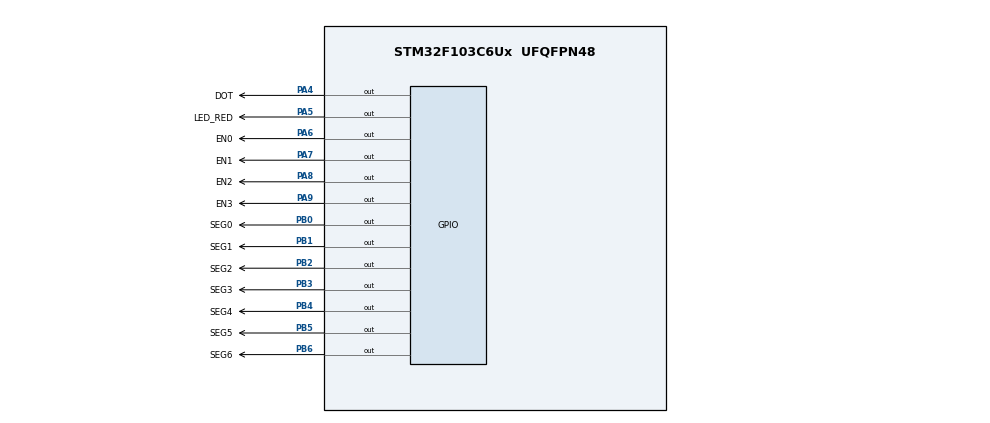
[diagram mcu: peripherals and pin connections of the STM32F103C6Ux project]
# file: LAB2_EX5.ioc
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Mcu.Family=STM32F1
Mcu.Name=STM32F103C6Ux
Mcu.Package=UFQFPN48
NVIC.PriorityGroup=NVIC_PRIORITYGROUP_4
NVIC.TIM2_IRQn=true\:0\:0\:false\:false\:true\:true\:true
PA4.GPIO_Label=DOT
PA4.Signal=GPIO_Output
PA5.GPIO_Label=LED_RED
PA5.Signal=GPIO_Output
PA6.GPIO_Label=EN0
PA6.Signal=GPIO_Output
PA7.GPIO_Label=EN1
PA7.Signal=GPIO_Output
PA8.GPIO_Label=EN2
PA8.Signal=GPIO_Output
PA9.GPIO_Label=EN3
PA9.Signal=GPIO_Output
PB0.GPIO_Label=SEG0
PB0.Signal=GPIO_Output
PB1.GPIO_Label=SEG1
PB1.Signal=GPIO_Output
PB2.GPIO_Label=SEG2
PB2.Signal=GPIO_Output
PB3.GPIO_Label=SEG3
PB3.Signal=GPIO_Output
PB4.GPIO_Label=SEG4
PB4.Signal=GPIO_Output
PB5.GPIO_Label=SEG5
PB5.Signal=GPIO_Output
PB6.GPIO_Label=SEG6
PB6.Signal=GPIO_Output
ProjectManager.HeapSize=0x200
ProjectManager.StackSize=0x400
ProjectManager.TargetToolchain=STM32CubeIDE
RCC.APB1Freq_Value=8000000
RCC.APB2Freq_Value=8000000
TIM2.Period=9
TIM2.Prescaler=7999
VP_SYS_VS_ND.Mode=No_Debug
VP_TIM2_VS_ClockSourceINT.Mode=Internal
board=custom

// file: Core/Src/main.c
/* USER CODE BEGIN Header */
/**
  ******************************************************************************
  * @file           : main.c
  * @brief          : Main program body
  ******************************************************************************
  * @attention
  *
  * <h2><center>&copy; Copyright (c) 2025 STMicroelectronics.
  * All rights reserved.</center></h2>
  *
  * This software component is licensed by ST under BSD 3-Clause license,
  * the "License"; You may not use this file except in compliance with the
  * License. You may obtain a copy of the License at:
  *                        opensource.org/licenses/BSD-3-Clause
  *
  ******************************************************************************
  */
/* USER CODE END Header */
#include "main.h"

/* USER CODE BEGIN Includes */
#include"display_led.h"
#include"software_timer.h"
/* USER CODE END Includes */

TIM_HandleTypeDef htim2;

void SystemClock_Config(void);
static void MX_GPIO_Init(void);
static void MX_TIM2_Init(void);

int main(void)
{

  /* MCU Configuration--------------------------------------------------------*/

  /* Reset of all peripherals, Initializes the Flash interface and the Systick. */
  HAL_Init();

  /* Configure the system clock */
  SystemClock_Config();

  /* Initialize all configured peripherals */
  MX_GPIO_Init();
  MX_TIM2_Init();
  /* USER CODE BEGIN 2 */
  HAL_TIM_Base_Start_IT (& htim2 ) ;
  /* USER CODE END 2 */

  /* Infinite loop */
  /* USER CODE BEGIN WHILE */
   int hour = 15 , minute = 9 , second = 58;
   setTimer1(50);
   setTimer2(100);
   setTimer3(100);
   int led_index = 0;
   int led_buffer[4] ;
   HAL_GPIO_WritePin(DOT_GPIO_Port, DOT_Pin, SET);

   void updateClockBuffer() {
       led_buffer[0] = hour / 10;
       led_buffer[1] = hour % 10;
       led_buffer[2] = minute / 10;
       led_buffer[3] = minute % 10;
   }
   updateClockBuffer();
   while (1)
   {

	  if (timer1_flag == 1 ){
 	  setTimer1(50);
 	  //TODO
 	  update7SEG(led_index);
 	  display7SEG(led_buffer[led_index]);
 	  led_index = (led_index + 1) % 4;
      }

      if (timer2_flag == 1 ){
   	    setTimer2(100);
   	    //TODO
        HAL_GPIO_TogglePin(LED_RED_GPIO_Port, LED_RED_Pin);
        HAL_GPIO_TogglePin(DOT_GPIO_Port, DOT_Pin);
      }

      if (timer3_flag == 1) {
          setTimer3(100);
          second++;

            if ( second >= 60) {
              second = 0;
              minute++;
            }
            if( minute >= 60) {
              minute = 0;
              hour++;
            }
            if( hour >= 24) {
              hour = 0;
            }
          updateClockBuffer();
     }

    /* USER CODE END WHILE */

  }
}

void SystemClock_Config(void)
{
  RCC_OscInitTypeDef RCC_OscInitStruct = {0};
  RCC_ClkInitTypeDef RCC_ClkInitStruct = {0};

  /** Initializes the RCC Oscillators according to the specified parameters
  * in the RCC_OscInitTypeDef structure.
  */
  RCC_OscInitStruct.OscillatorType = RCC_OSCILLATORTYPE_HSI;
  RCC_OscInitStruct.HSIState = RCC_HSI_ON;
  RCC_OscInitStruct.HSICalibrationValue = RCC_HSICALIBRATION_DEFAULT;
  RCC_OscInitStruct.PLL.PLLState = RCC_PLL_NONE;
  if (HAL_RCC_OscConfig(&RCC_OscInitStruct) != HAL_OK)
  {
    Error_Handler();
  }
  /** Initializes the CPU, AHB and APB buses clocks
  */
  RCC_ClkInitStruct.ClockType = RCC_CLOCKTYPE_HCLK|RCC_CLOCKTYPE_SYSCLK
                              |RCC_CLOCKTYPE_PCLK1|RCC_CLOCKTYPE_PCLK2;
  RCC_ClkInitStruct.SYSCLKSource = RCC_SYSCLKSOURCE_HSI;
  RCC_ClkInitStruct.AHBCLKDivider = RCC_SYSCLK_DIV1;
  RCC_ClkInitStruct.APB1CLKDivider = RCC_HCLK_DIV1;
  RCC_ClkInitStruct.APB2CLKDivider = RCC_HCLK_DIV1;

  if (HAL_RCC_ClockConfig(&RCC_ClkInitStruct, FLASH_LATENCY_0) != HAL_OK)
  {
    Error_Handler();
  }
}

static void MX_TIM2_Init(void)
{

  TIM_ClockConfigTypeDef sClockSourceConfig = {0};
  TIM_MasterConfigTypeDef sMasterConfig = {0};

  htim2.Instance = TIM2;
  htim2.Init.Prescaler = 7999;
  htim2.Init.CounterMode = TIM_COUNTERMODE_UP;
  htim2.Init.Period = 9;
  htim2.Init.ClockDivision = TIM_CLOCKDIVISION_DIV1;
  htim2.Init.AutoReloadPreload = TIM_AUTORELOAD_PRELOAD_DISABLE;
  if (HAL_TIM_Base_Init(&htim2) != HAL_OK)
  {
    Error_Handler();
  }
  sClockSourceConfig.ClockSource = TIM_CLOCKSOURCE_INTERNAL;
  if (HAL_TIM_ConfigClockSource(&htim2, &sClockSourceConfig) != HAL_OK)
  {
    Error_Handler();
  }
  sMasterConfig.MasterOutputTrigger = TIM_TRGO_RESET;
  sMasterConfig.MasterSlaveMode = TIM_MASTERSLAVEMODE_DISABLE;
  if (HAL_TIMEx_MasterConfigSynchronization(&htim2, &sMasterConfig) != HAL_OK)
  {
    Error_Handler();
  }

}

static void MX_GPIO_Init(void)
{
  GPIO_InitTypeDef GPIO_InitStruct = {0};

  /* GPIO Ports Clock Enable */
  __HAL_RCC_GPIOA_CLK_ENABLE();
  __HAL_RCC_GPIOB_CLK_ENABLE();

  /*Configure GPIO pin Output Level */
  HAL_GPIO_WritePin(GPIOA, DOT_Pin|LED_RED_Pin|EN0_Pin|EN1_Pin
                          |EN2_Pin|EN3_Pin, GPIO_PIN_RESET);

  /*Configure GPIO pin Output Level */
  HAL_GPIO_WritePin(GPIOB, SEG0_Pin|SEG1_Pin|SEG2_Pin|SEG3_Pin
                          |SEG4_Pin|SEG5_Pin|SEG6_Pin, GPIO_PIN_RESET);

  /*Configure GPIO pins : DOT_Pin LED_RED_Pin EN0_Pin EN1_Pin
                           EN2_Pin EN3_Pin */
  GPIO_InitStruct.Pin = DOT_Pin|LED_RED_Pin|EN0_Pin|EN1_Pin
                          |EN2_Pin|EN3_Pin;
  GPIO_InitStruct.Mode = GPIO_MODE_OUTPUT_PP;
  GPIO_InitStruct.Pull = GPIO_NOPULL;
  GPIO_InitStruct.Speed = GPIO_SPEED_FREQ_LOW;
  HAL_GPIO_Init(GPIOA, &GPIO_InitStruct);

  /*Configure GPIO pins : SEG0_Pin SEG1_Pin SEG2_Pin SEG3_Pin
                           SEG4_Pin SEG5_Pin SEG6_Pin */
  GPIO_InitStruct.Pin = SEG0_Pin|SEG1_Pin|SEG2_Pin|SEG3_Pin
                          |SEG4_Pin|SEG5_Pin|SEG6_Pin;
  GPIO_InitStruct.Mode = GPIO_MODE_OUTPUT_PP;
  GPIO_InitStruct.Pull = GPIO_NOPULL;
  GPIO_InitStruct.Speed = GPIO_SPEED_FREQ_LOW;
  HAL_GPIO_Init(GPIOB, &GPIO_InitStruct);

}

/* USER CODE BEGIN 4 */
void HAL_TIM_PeriodElapsedCallback(TIM_HandleTypeDef *htim){
   timerRun();
}
/* USER CODE END 4 */

void Error_Handler(void)
{
  __disable_irq();
  while (1)
  {
  }
}

/************************ (C) COPYRIGHT STMicroelectronics *****END OF FILE****/
